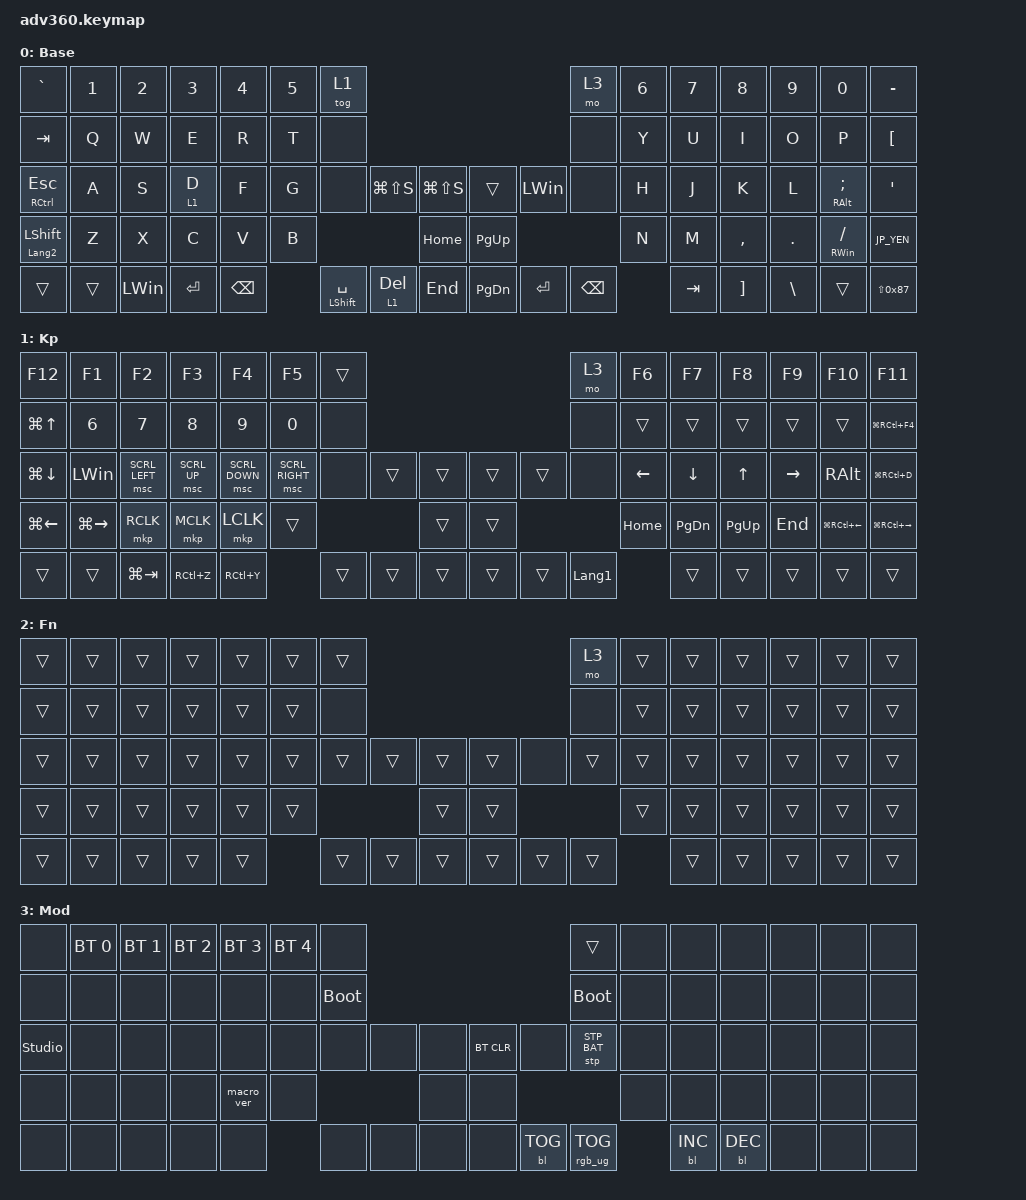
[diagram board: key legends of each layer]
#include <dt-bindings/zmk/stp.h>
#include <behaviors.dtsi>
#include <dt-bindings/zmk/backlight.h>
#include <dt-bindings/zmk/bt.h>
#include <dt-bindings/zmk/keys.h>
#include <dt-bindings/zmk/pointing.h>
#include <dt-bindings/zmk/rgb.h>

// OS設定を日本語キーボードのまま使用するための変換定義

#define JP_DQ           AT                // "
#define JP_AMP          CARET             // &
#define JP_Q            AMPERSAND         // '
#define JP_EQUAL        UNDER             // =
#define JP_CRT          EQUAL             // ^
#define JP_YEN          0x89              // ¥
#define JP_PLUS         COLON             // +
#define JP_TI           PLUS              // ~
#define JP_PIPE         LS(0x89)          // |
#define JP_AT           LEFT_BRACKET      // @
#define JP_COLON        SINGLE_QUOTE      // :
#define JP_ASTERISK     DOUBLE_QUOTES     // *
#define JP_BACKQ        LEFT_BRACE        // `
#define JP_USC          LS(0x87)          // _
#define JP_LBR          RIGHT_BRACKET     // [
#define JP_RBR          BACKSLASH         // ]
#define JP_LP           ASTERISK          // (
#define JP_RP           LEFT_PARENTHESIS  // )
#define JP_LB           RIGHT_BRACE       // {
#define JP_RB           PIPE              // }
#define KANA            LANGUAGE_1        // かな
#define EISU            LANGUAGE_2        // 英数
#define HANZE           GRAVE             // 半角/全角

#define SF              LSHIFT
#define ETR             ENTER
#define UNDO            RC(Z)
#define REDO            RC(Y)
#define BS              BACKSPACE
#define DEL             DELETE
#define CT              RCTRL
#define AL              RALT
#define SCR             LG(LS(S))
#define CAD             RC(RA(DEL))
#define SP              SPACE
#define SCLN            SEMICOLON

#define SC_L            SCRL_LEFT
#define SC_R            SCRL_RIGHT
#define SC_U            SCRL_UP
#define SC_D            SCRL_DOWN
#define SCR_L           LG(LEFT)
#define SCR_R           LG(RIGHT)
#define SCR_U           LG(UP)
#define SCR_D           LG(DOWN)
#define DSK_L           LG(RC(LEFT))
#define DSK_R           LG(RC(RIGHT))
#define DSK_N           LG(RC(D))
#define DSK_D           LG(RC(F4))
#define TK_LS           LG(TAB)

/ {
    behaviors {
      #include "macros.dtsi"
      #include "version.dtsi"

        hm: homerow_mods {
            compatible = "zmk,behavior-hold-tap";
            #binding-cells = <2>;
            tapping-term-ms = <180>;
            quick-tap-ms = <150>;
            require-prior-idle-ms = <125>; //誤爆が多いなら require-prior-idle-ms を 150、修飾キーが出にくいなら 100 に下げる
            flavor = "balanced";
            bindings = <&kp>, <&kp>;
        };
        //    label = "HOMEROW_MODS";
        //    tapping-term-ms = <150>;
        //    quick-tap-ms = <100>;
        //    flavor = "hold-preferred";

    };

    keymap {
        compatible = "zmk,keymap";

        default_layer {
            display-name = "Base";
            bindings = <
&kp HANZE   &kp N1  &kp N2    &kp N3    &kp N4    &kp N5    &tog 1                                                  &mo 3   &kp N6     &kp N7    &kp N8     &kp N9     &kp N0         &kp MINUS
&kp TAB     &kp Q   &kp W     &kp E     &kp R     &kp T     &none                                                   &none   &kp Y      &kp U     &kp I      &kp O      &kp P          &kp JP_AT
&mt CT ESC  &kp A   &kp S     &lt 1 D   &kp F     &kp G     &none      &kp SCR    &kp SCR        &trans    &kp LWIN &none   &kp H      &kp J     &kp K      &kp L      &mt AL SCLN    &kp JP_COLON
&mt EISU SF &kp Z   &kp X     &kp C     &kp V     &kp B                           &kp HOME       &kp PG_UP                  &kp N      &kp M     &kp COMMA  &kp DOT    &mt RWIN SLASH &kp JP_YEN
&trans      &trans  &kp LWIN  &kp ETR   &kp BS              &mt SF SP  &lt 1 DEL  &kp END        &kp PG_DN &kp ETR  &kp BS             &kp TAB   &kp JP_LBR &kp JP_RBR &trans         &kp JP_USC
            >;
        };

        keypad {
            display-name = "Kp";
            bindings = <
&kp F12   &kp F1    &kp F2    &kp F3    &kp F4    &kp F5    &trans                                                  &mo 3   &kp F6     &kp F7    &kp F8     &kp F9    &kp F10     &kp F11
&kp SCR_U &kp N6    &kp N7    &kp N8    &kp N9    &kp N0    &none                                                   &none   &trans     &trans    &trans     &trans    &trans      &kp DSK_D
&kp SCR_D &kp LWIN  &msc SC_L &msc SC_U &msc SC_D &msc SC_R &none      &trans     &trans         &trans    &trans   &none   &kp LEFT   &kp DOWN  &kp UP     &kp RIGHT &kp RALT    &kp DSK_N
&kp SCR_L &kp SCR_R &mkp RCLK &mkp MCLK &mkp LCLK &trans                          &trans         &trans                     &kp HOME   &kp PG_DN &kp PG_UP  &kp END   &kp DSK_L   &kp DSK_R
&trans    &trans    &kp TK_LS &kp UNDO  &kp REDO            &trans     &trans     &trans         &trans  	 &trans   &kp KANA           &trans    &trans     &trans    &trans      &trans
            >;
        };
        
        fn {
            display-name = "Fn";
            bindings = <
&trans    &trans    &trans    &trans    &trans    &trans    &trans                                                  &mo 3   &trans     &trans    &trans     &trans    &trans      &trans
&trans    &trans    &trans    &trans    &trans    &trans    &none                                                   &none   &trans     &trans    &trans     &trans    &trans      &trans
&trans    &trans    &trans    &trans    &trans    &trans    &trans     &trans     &trans         &trans    &none    &trans  &trans     &trans    &trans     &trans    &trans      &trans
&trans    &trans    &trans    &trans    &trans    &trans                          &trans         &trans                     &trans     &trans    &trans     &trans    &trans      &trans
&trans    &trans    &trans    &trans    &trans              &trans     &trans     &trans         &trans  	 &trans  	&trans             &trans    &trans     &trans	  &trans      &trans
            >;
        };

        mod {
            display-name = "Mod";
            bindings = <
&none           &bt BT_SEL 0  &bt BT_SEL 1  &bt BT_SEL 2  &bt BT_SEL 3  &bt BT_SEL 4  &none                                                  &trans           &none  &none       &none       &none  &none  &none
&none           &none         &none         &none         &none         &none         &bootloader                                            &bootloader      &none  &none       &none       &none  &none  &none
&studio_unlock  &none         &none         &none         &none         &none         &none        &none  &none      &bt BT_CLR  &none       &stp STP_BAT     &none  &none       &none       &none  &none  &none
&none           &none         &none         &none         &macro_ver    &none                             &none      &none                                    &none  &none       &none       &none  &none  &none
&none           &none         &none         &none         &none                       &none        &none  &none      &none       &bl BL_TOG  &rgb_ug RGB_TOG         &bl BL_INC  &bl BL_DEC  &none  &none  &none
            >;
        };

        extra1 {
            display-name = "Red";
            status = "reserved";
        };

        extra2 {
            display-name = "Purple";
            status = "reserved";
        };

        extra3 {
            display-name = "Cyan";
            status = "reserved";
        };

        extra4 {
            display-name = "Yellow";
            status = "reserved";
        };
        
    };
};
